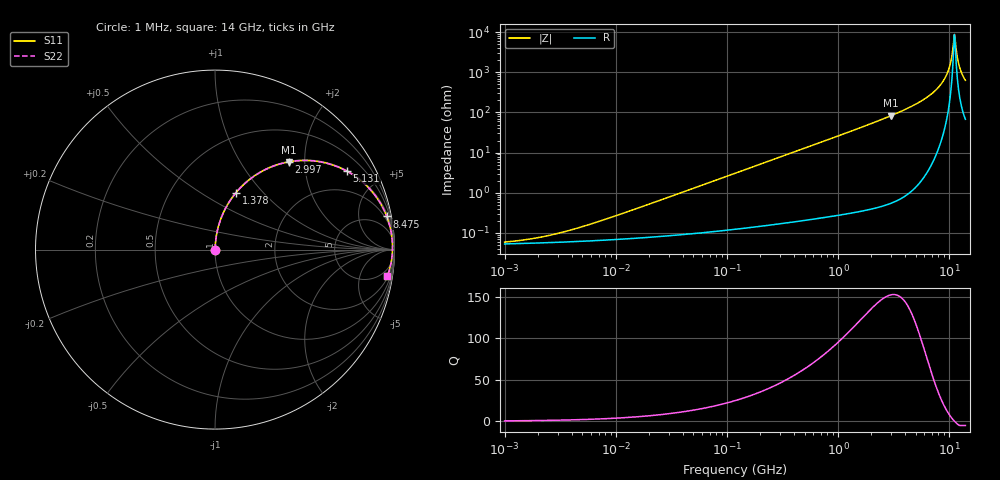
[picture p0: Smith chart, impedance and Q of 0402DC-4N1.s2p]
# MHz  S  MA  R  50
!Freq  MagS11  AngS11  MagS21  AngS21  MagS12  AngS12  MagS22  AngS22
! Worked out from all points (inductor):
!   801 points, 1 MHz to 14 GHz, reference 50 ohm
!   read as one part in series: L = 4.1 nH near 7.715 MHz
!   highest Q = 152 at 2.997 GHz (marker M1), where L = 4.42 nH
!   self-resonance near 11.16 GHz
!   S11 on the Smith chart (normalised r, x): 1 MHz: 1.00, +0.00; 1.378 GHz: 1.01, +0.72; 2.997 GHz: 1.01, +1.66; 5.131 GHz: 1.03, +3.35; 8.475 GHz: 1, +10; 14 GHz: 2, -13
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1  0.0005894 25.9  0.9995 -0.0  0.9995 -0.0  0.0005894 25.9
2.200292  0.0007996 45.1  0.9994 -0.0  0.9994 -0.0  0.0007996 45.1
4.958368  0.001418 64.1  0.9994 -0.1  0.9994 -0.1  0.001418 64.1
24.29341  0.006305 82.3  0.9992 -0.4  0.9992 -0.4  0.006305 82.3
119.025  0.03064 86.0  0.9983 -1.8  0.9983 -1.8  0.03064 86.0
583.1601  0.1487 80.6  0.9867 -8.5  0.9867 -8.5  0.1487 80.6
1378.487  0.3383 69.7  0.9381 -19.8  0.9381 -19.8  0.3383 69.7
1996.478  0.4678 61.7  0.8804 -27.9  0.8804 -27.9  0.4678 61.7
2857.179  0.6167 51.5  0.7831 -38.1  0.7831 -38.1  0.6167 51.5
2997.049  0.6375 50.0  0.7663 -39.6  0.7663 -39.6  0.6375 50.0
5131.013  0.8553 30.7  0.5106 -58.8  0.5106 -58.8  0.8553 30.7
6835.046  0.9374 19.5  0.3332 -69.6  0.3332 -69.6  0.9374 19.5
8475.106  0.9747 10.9  0.1898 -76.9  0.1898 -76.9  0.9747 10.9
9214.437  0.983 7.6  0.1328 -78.9  0.1328 -78.9  0.983 7.6
9781.699  0.9868 5.3  0.09204 -79.1  0.09204 -79.1  0.9868 5.3
10260.55  0.9886 3.4  0.05956 -77.3  0.05956 -77.3  0.9886 3.4
10762.84  0.9892 1.5  0.02797 -66.4  0.02797 -66.4  0.9892 1.5
11155.64  0.9888 0.1  0.01124 -6.6  0.01124 -6.6  0.9888 0.1
11562.76  0.9879 -1.3  0.02613 61.6  0.02613 61.6  0.9879 -1.3
12128.81  0.9855 -3.2  0.05742 73.8  0.05742 73.8  0.9855 -3.2
12571.45  0.9831 -4.6  0.08154 75.7  0.08154 75.7  0.9831 -4.6
14000  0.9717 -8.8  0.154 75.0  0.154 75.0  0.9717 -8.8
